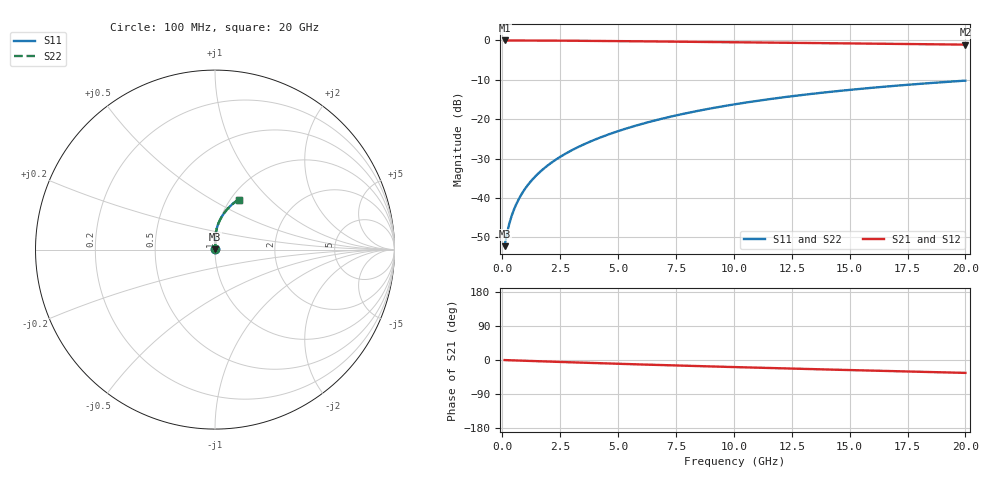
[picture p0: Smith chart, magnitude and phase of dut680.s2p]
! Touchstone file exported from HFSS 2024.1.0
!  File:  C:/UserFiles/LocalFiles/RDL_TSV_Batchsim/temp_RDL_bottom_680_1779786561.aedt
!  Generated:  05:11:51 PM May 26, 2026
!  Design:  RDL_bottom
!  Project:  temp_RDL_bottom_680_1779786561
!  Setup:  Setup1
!  Solution:  Sweep
! Variables:
!  dtsv = 10.80580581um
!  hbump = 3um
!  htsv = 69.3um
!  ldown = 472.02um
!  lrdl = 100um
!  p = 40
!  p1 = 54.77um
!  rhole = 1um
!  t = 450um
!  tdown = 3.68um
!  trdl = 3.915915916um
!  wdown = 26.28um
!  wrdl = 20um
# GHz S MA R 50.000000
! Terminal data exported
! Port[1] = RDL1_T1
! Port[2] = RDL1_T2
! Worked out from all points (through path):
!   200 points, 100 MHz to 20 GHz, reference 50 ohm
!   highest |S21| = -0.02 dB at 100 MHz (marker M1); lowest = -1.1 dB at 20 GHz (marker M2)
!   group delay of S21, straight-line fit = 4.66 ps
!   lowest |S11| = -52.2 dB at 100 MHz (marker M3), VSWR 1.00, Z = 50.2 + j0.147 ohm
!   |S11| at or under -10 dB: start of sweep to end of sweep
!   |S22| runs from -52.2 to -10.2 dB; largest |S21 - S12| = 4.2e-15
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0.1  0.002445 36.8  0.998 -0.2  0.998 -0.2  0.002445 36.8
! Gamma 0 0 0 0
! Port Impedance 50 0 50 0
0.2  0.003524 53.9  0.9979 -0.4  0.9979 -0.4  0.003524 53.9
0.3  0.004693 62.3  0.9977 -0.6  0.9977 -0.6  0.004693 62.3
0.4  0.00588 67.5  0.9976 -0.9  0.9976 -0.9  0.00588 67.5
0.5  0.007081 71.1  0.9974 -1.1  0.9974 -1.1  0.00708 71.1
0.6  0.008297 73.9  0.9973 -1.3  0.9973 -1.3  0.008296 73.9
0.8  0.01077 77.7  0.997 -1.7  0.997 -1.7  0.01077 77.7
1.1  0.01457 81.2  0.9964 -2.3  0.9964 -2.3  0.01457 81.2
1.3  0.01714 82.7  0.996 -2.7  0.996 -2.7  0.01714 82.7
1.6  0.02107 84.4  0.9952 -3.3  0.9952 -3.3  0.02107 84.4
2.1  0.02776 86.2  0.9937 -4.3  0.9937 -4.3  0.02776 86.2
2.7  0.03605 87.5  0.9914 -5.5  0.9914 -5.5  0.03605 87.5
3.5  0.04756 88.3  0.9876 -7.1  0.9876 -7.1  0.04757 88.3
4.2  0.05806 88.5  0.9839 -8.5  0.9839 -8.5  0.05807 88.5
5  0.0705 88.3  0.9793 -10.0  0.9793 -10.0  0.07051 88.3
6.8  0.0998 86.7  0.968 -13.2  0.968 -13.2  0.09984 86.7
8.4  0.1267 84.5  0.9576 -16.0  0.9576 -16.0  0.1268 84.5
10.1  0.1555 81.7  0.9466 -18.8  0.9466 -18.8  0.1556 81.7
11.7  0.1823 78.9  0.9364 -21.4  0.9364 -21.4  0.1824 78.9
13.4  0.2101 75.9  0.9256 -24.1  0.9256 -24.1  0.2102 75.9
16.7  0.2614 70.1  0.9046 -29.2  0.9046 -29.2  0.2616 70.2
20  0.3085 64.6  0.8836 -34.0  0.8836 -34.0  0.3087 64.7
